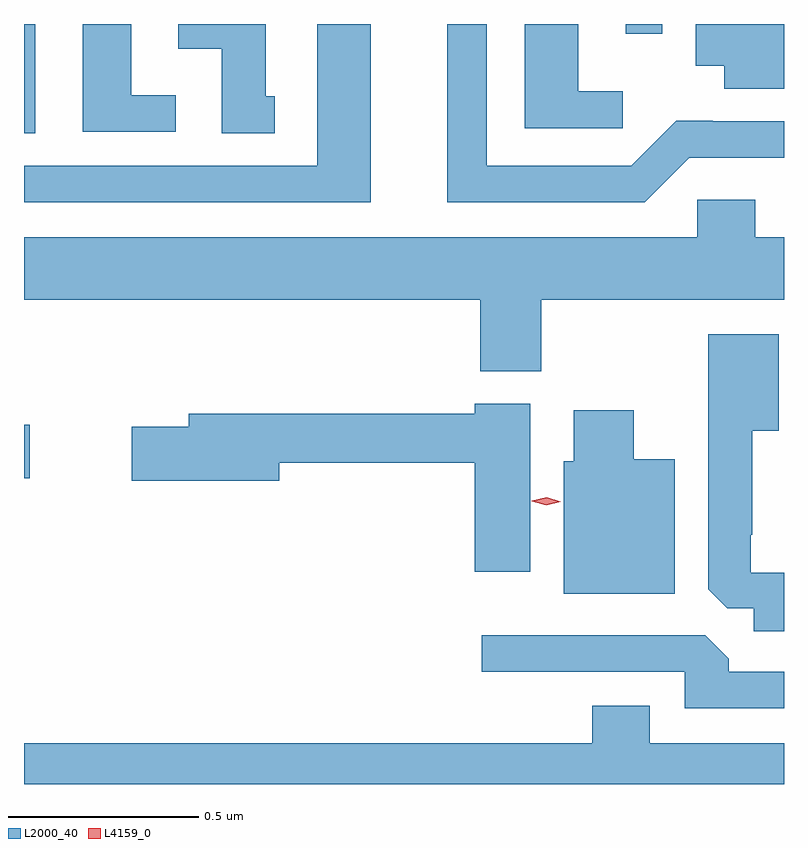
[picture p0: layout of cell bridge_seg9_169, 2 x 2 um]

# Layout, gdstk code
import gdstk
lib = gdstk.Library(unit=1e-6, precision=1e-09)
def R(c, l, rs):  # rectangles x0, y0, x1, y1
    for r in rs: c.add(gdstk.rectangle(r[:2], r[2:], *l))
def P(c, l, *ps):  # polygons
    for p in ps: c.add(gdstk.Polygon(p, *l))
L2000_40 = (2000, 40)
L4159_0 = (4159, 0)

bridge_seg9_169 = lib.new_cell('bridge_seg9_169')
R(bridge_seg9_169, L2000_40, [(221.662,1241.237,221.677,1241.379), (221.662,1242.145,221.692,1242.433), (223.245,1242.408,223.341,1242.433)])
P(bridge_seg9_169, L2000_40, [(223.662,1242.433),(223.43,1242.433),(223.43,1242.323),(223.505,1242.323),(223.505,1242.262),(223.662,1242.262)],
  [(223.413,1242.081),(223.662,1242.081),(223.662,1242.177),(223.474,1242.177),(223.474,1242.178),(223.378,1242.178),(223.26,1242.06),(222.88,1242.06),(222.88,1242.433),(222.776,1242.433),(222.776,1241.964),(223.296,1241.964)],
  [(223.237,1242.256),(223.12,1242.256),(223.12,1242.433),(222.98,1242.433),(222.98,1242.159),(223.237,1242.159)],
  [(222.061,1242.246),(221.944,1242.246),(221.944,1242.433),(221.816,1242.433),(221.816,1242.15),(222.061,1242.15)],
  [(222.574,1242.433),(222.434,1242.433),(222.434,1242.06),(221.662,1242.06),(221.662,1241.964),(222.574,1241.964)],
  [(222.322,1242.243),(222.298,1242.243),(222.298,1242.433),(222.068,1242.433),(222.068,1242.368),(222.182,1242.368),(222.182,1242.145),(222.322,1242.145)],
  [(223.023,1241.708),(223.662,1241.708),(223.662,1241.872),(223.586,1241.872),(223.586,1241.97),(223.434,1241.97),(223.434,1241.872),(221.662,1241.872),(221.662,1241.708),(222.863,1241.708),(222.863,1241.519),(223.023,1241.519)],
  [(223.662,1240.989),(223.575,1240.989),(223.575,1241.089),(223.579,1241.089),(223.579,1241.363),(223.648,1241.363),(223.648,1241.617),(223.463,1241.617),(223.463,1240.945),(223.512,1240.896),(223.583,1240.896),(223.583,1240.835),(223.662,1240.835)],
  [(222.994,1241.434),(222.848,1241.434),(222.848,1241.407),(222.095,1241.407),(222.095,1241.373),(221.946,1241.373),(221.946,1241.231),(222.334,1241.231),(222.334,1241.278),(222.848,1241.278),(222.848,1240.992),(222.994,1240.992)],
  [(223.375,1241.287),(223.267,1241.287),(223.267,1241.416),(223.109,1241.416),(223.109,1241.283),(223.082,1241.283),(223.082,1240.934),(223.375,1240.934)],
  [(223.662,1240.728),(223.517,1240.728),(223.517,1240.762),(223.455,1240.824),(222.867,1240.824),(222.867,1240.728),(223.401,1240.728),(223.401,1240.632),(223.662,1240.632)],
  [(223.662,1240.54),(223.309,1240.54),(223.309,1240.639),(223.157,1240.639),(223.157,1240.54),(221.662,1240.54),(221.662,1240.433),(223.662,1240.433)])
P(bridge_seg9_169, L4159_0, [(223.036,1241.167),(222.998,1241.177),(222.998,1241.178),(222.998,1241.178),(223.037,1241.187),(223.075,1241.176),(223.075,1241.176),(223.075,1241.176)])

lib.write_gds('bridge_seg9_169.gds')
